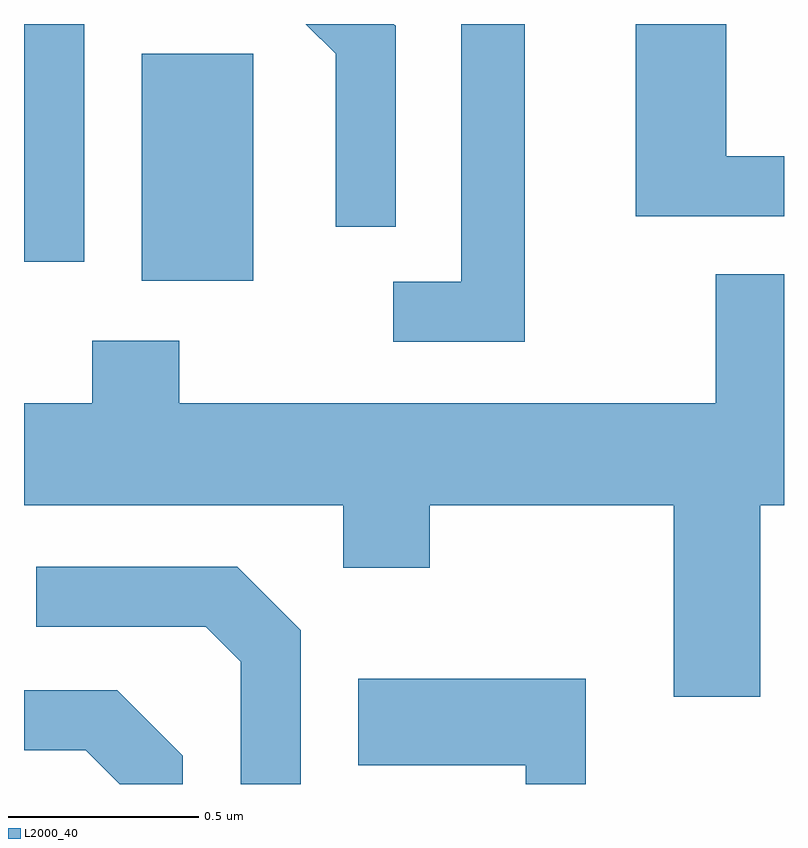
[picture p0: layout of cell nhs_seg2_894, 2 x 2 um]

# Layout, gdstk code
import gdstk
lib = gdstk.Library(unit=1e-6, precision=1e-09)
def R(c, l, rs):  # rectangles x0, y0, x1, y1
    for r in rs: c.add(gdstk.rectangle(r[:2], r[2:], *l))
def P(c, l, *ps):  # polygons
    for p in ps: c.add(gdstk.Polygon(p, *l))
L2000_40 = (2000, 40)

nhs_seg2_894 = lib.new_cell('nhs_seg2_894')
R(nhs_seg2_894, L2000_40, [(191.921,1051.126,192.214,1051.724), (191.611,1051.176,191.769,1051.802)])
P(nhs_seg2_894, L2000_40, [(193.611,1051.454),(193.459,1051.454),(193.459,1051.802),(193.221,1051.802),(193.221,1051.296),(193.611,1051.296)],
  [(192.589,1051.797),(192.584,1051.802),(192.353,1051.802),(192.431,1051.724),(192.431,1051.268),(192.589,1051.268)],
  [(192.929,1051.802),(192.761,1051.802),(192.761,1051.124),(192.583,1051.124),(192.583,1050.966),(192.929,1050.966)],
  [(193.549,1050.536),(193.611,1050.536),(193.611,1051.144),(193.431,1051.144),(193.431,1050.804),(192.019,1050.804),(192.019,1050.969),(191.791,1050.969),(191.791,1050.804),(191.611,1050.804),(191.611,1050.536),(192.451,1050.536),(192.451,1050.371),(192.679,1050.371),(192.679,1050.536),(193.321,1050.536),(193.321,1050.031),(193.549,1050.031)],
  [(192.339,1050.207),(192.172,1050.374),(191.643,1050.374),(191.643,1050.216),(192.089,1050.216),(192.181,1050.124),(192.181,1049.802),(192.339,1049.802)],
  [(193.089,1050.079),(192.491,1050.079),(192.491,1049.851),(192.931,1049.851),(192.931,1049.802),(193.089,1049.802)],
  [(192.029,1049.877),(191.857,1050.049),(191.611,1050.049),(191.611,1049.891),(191.774,1049.891),(191.863,1049.802),(192.029,1049.802)])

lib.write_gds('nhs_seg2_894.gds')
